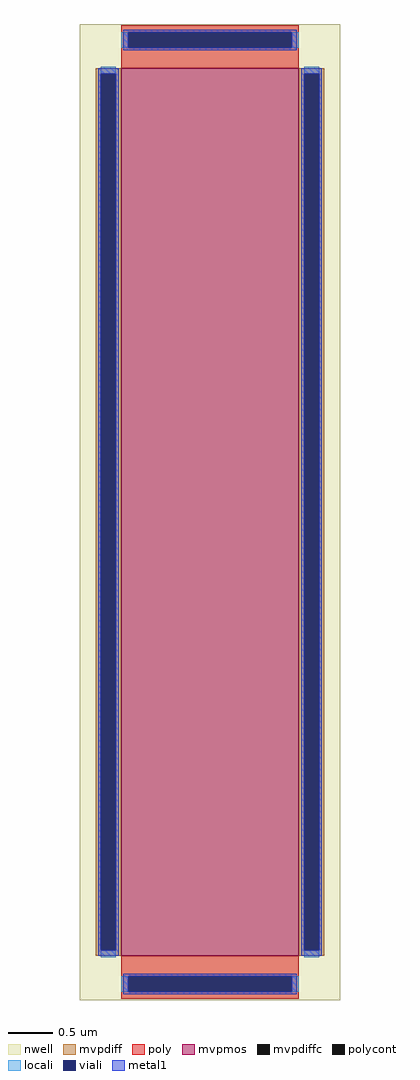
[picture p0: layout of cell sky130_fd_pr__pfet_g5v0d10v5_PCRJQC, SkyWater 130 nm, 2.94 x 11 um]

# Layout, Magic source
magic
tech sky130A
magscale 1 2
<< nwell >>
rect -294 -1100 294 1100
<< mvpmos >>
rect -200 -1000 200 1000
<< mvpdiff >>
rect -258 988 -200 1000
rect -258 -988 -246 988
rect -212 -988 -200 988
rect -258 -1000 -200 -988
rect 200 988 258 1000
rect 200 -988 212 988
rect 246 -988 258 988
rect 200 -1000 258 -988
<< mvpdiffc >>
rect -246 -988 -212 988
rect 212 -988 246 988
<< poly >>
rect -200 1081 200 1097
rect -200 1047 -184 1081
rect 184 1047 200 1081
rect -200 1000 200 1047
rect -200 -1047 200 -1000
rect -200 -1081 -184 -1047
rect 184 -1081 200 -1047
rect -200 -1097 200 -1081
<< polycont >>
rect -184 1047 184 1081
rect -184 -1081 184 -1047
<< locali >>
rect -200 1047 -184 1081
rect 184 1047 200 1081
rect -246 988 -212 1004
rect -246 -1004 -212 -988
rect 212 988 246 1004
rect 212 -1004 246 -988
rect -200 -1081 -184 -1047
rect 184 -1081 200 -1047
<< viali >>
rect -184 1047 184 1081
rect -246 -988 -212 988
rect 212 -988 246 988
rect -184 -1081 184 -1047
<< metal1 >>
rect -196 1081 196 1087
rect -196 1047 -184 1081
rect 184 1047 196 1081
rect -196 1041 196 1047
rect -252 988 -206 1000
rect -252 -988 -246 988
rect -212 -988 -206 988
rect -252 -1000 -206 -988
rect 206 988 252 1000
rect 206 -988 212 988
rect 246 -988 252 988
rect 206 -1000 252 -988
rect -196 -1047 196 -1041
rect -196 -1081 -184 -1047
rect 184 -1081 196 -1047
rect -196 -1087 196 -1081
<< properties >>
string gencell sky130_fd_pr__pfet_g5v0d10v5
string library sky130
string parameters w 10 l 2 m 1 nf 1 diffcov 100 polycov 100 guard 0 glc 0 grc 0 gtc 0 gbc 0 tbcov 100 rlcov 100 topc 1 botc 1 poverlap 0 doverlap 1 lmin 0.50 wmin 0.42 compatible {sky130_fd_pr__pfet_01v8  sky130_fd_pr__pfet_01v8_lvt sky130_fd_pr__pfet_01v8_hvt  sky130_fd_pr__pfet_g5v0d10v5} full_metal 0 viasrc 100 viadrn 100 viagate 100 viagb 0 viagr 0 viagl 0 viagt 0
<< end >>
